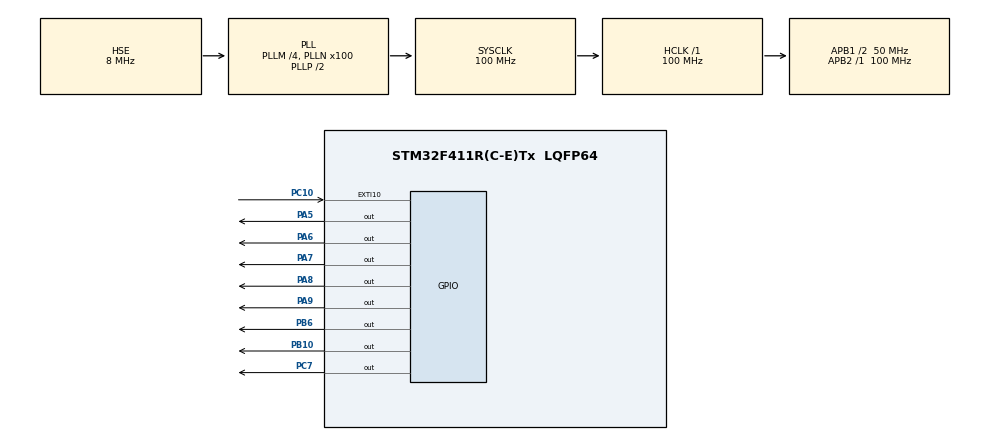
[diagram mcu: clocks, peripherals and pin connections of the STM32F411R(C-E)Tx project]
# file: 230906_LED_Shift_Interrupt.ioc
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Mcu.Family=STM32F4
Mcu.Name=STM32F411R(C-E)Tx
Mcu.Package=LQFP64
NVIC.EXTI15_10_IRQn=true\:0\:0\:false\:false\:true\:true\:true\:true
NVIC.PriorityGroup=NVIC_PRIORITYGROUP_4
PA13.Mode=Serial_Wire
PA13.Signal=SYS_JTMS-SWDIO
PA14.Mode=Serial_Wire
PA14.Signal=SYS_JTCK-SWCLK
PA5.GPIO_PuPd=GPIO_NOPULL
PA5.PinState=GPIO_PIN_SET
PA5.Signal=GPIO_Output
PA6.GPIO_PuPd=GPIO_NOPULL
PA6.PinState=GPIO_PIN_SET
PA6.Signal=GPIO_Output
PA7.GPIO_PuPd=GPIO_NOPULL
PA7.PinState=GPIO_PIN_SET
PA7.Signal=GPIO_Output
PA8.GPIO_PuPd=GPIO_NOPULL
PA8.PinState=GPIO_PIN_SET
PA8.Signal=GPIO_Output
PA9.GPIO_PuPd=GPIO_NOPULL
PA9.PinState=GPIO_PIN_SET
PA9.Signal=GPIO_Output
PB10.GPIO_PuPd=GPIO_NOPULL
PB10.PinState=GPIO_PIN_SET
PB10.Signal=GPIO_Output
PB6.GPIO_PuPd=GPIO_NOPULL
PB6.PinState=GPIO_PIN_SET
PB6.Signal=GPIO_Output
PC10.GPIO_ModeDefaultEXTI=GPIO_MODE_IT_FALLING
PC10.GPIO_PuPd=GPIO_NOPULL
PC10.Signal=GPXTI10
PC7.GPIO_PuPd=GPIO_NOPULL
PC7.PinState=GPIO_PIN_SET
PC7.Signal=GPIO_Output
PH0\ -\ OSC_IN.Mode=HSE-External-Oscillator
PH0\ -\ OSC_IN.Signal=RCC_OSC_IN
PH1\ -\ OSC_OUT.Mode=HSE-External-Oscillator
PH1\ -\ OSC_OUT.Signal=RCC_OSC_OUT
ProjectManager.HeapSize=0x200
ProjectManager.StackSize=0x400
ProjectManager.TargetToolchain=STM32CubeIDE
RCC.48MHZClocksFreq_Value=50000000
RCC.AHBFreq_Value=100000000
RCC.APB1CLKDivider=RCC_HCLK_DIV2
RCC.APB1Freq_Value=50000000
RCC.APB1TimFreq_Value=100000000
RCC.APB2Freq_Value=100000000
RCC.APB2TimFreq_Value=100000000
RCC.CortexFreq_Value=100000000
RCC.HCLKFreq_Value=100000000
RCC.HSE_VALUE=8000000
RCC.HSI_VALUE=16000000
RCC.LSE_VALUE=32768
RCC.PLLM=4
RCC.PLLN=100
RCC.PLLSourceVirtual=RCC_PLLSOURCE_HSE
RCC.SYSCLKFreq_VALUE=100000000
RCC.SYSCLKSource=RCC_SYSCLKSOURCE_PLLCLK
RCC.VCOOutputFreq_Value=200000000
board=custom

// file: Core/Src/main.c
/* USER CODE BEGIN Header */
/**
  ******************************************************************************
  * @file           : main.c
  * @brief          : Main program body
  ******************************************************************************
  * @attention
  *
  * Copyright (c) 2023 STMicroelectronics.
  * All rights reserved.
  *
  * This software is licensed under terms that can be found in the LICENSE file
  * in the root directory of this software component.
  * If no LICENSE file comes with this software, it is provided AS-IS.
  *
  ******************************************************************************
  */
/* USER CODE END Header */
#include "main.h"
#include "gpio.h"

/* USER CODE BEGIN PV */
static volatile uint8_t state = 0;
// GPIO_PinState state=0;
/* USER CODE END PV */

void SystemClock_Config(void);

/* USER CODE BEGIN 0 */
void HAL_GPIO_EXTI_Callback(uint16_t GPIO_Pin){
  if(GPIO_Pin == GPIO_PIN_10){
    state = (state+1)%3;
  }
}
/* USER CODE END 0 */

int main(void)
{
  /* USER CODE BEGIN 1 */
  int i=0;
  /* USER CODE END 1 */

  /* MCU Configuration--------------------------------------------------------*/

  /* Reset of all peripherals, Initializes the Flash interface and the Systick. */
  HAL_Init();

  /* Configure the system clock */
  SystemClock_Config();

  /* Initialize all configured peripherals */
  MX_GPIO_Init();
  /* USER CODE BEGIN 2 */
  GPIO_TypeDef *led2_GPIO[8] =  // pin order: PA_5,6,7, PB_6, PC_7, PA_9,8, PB_10
      {
          GPIOA, GPIOA, GPIOA, GPIOB,
          GPIOC, GPIOA, GPIOA, GPIOB
      };
  GPIO_TypeDef *led2_GPIO_PIN[8] =  // pin order: PA_5,6,7, PB_6, PC_7, PA_9,8, PB_10
      {
          GPIO_PIN_5, GPIO_PIN_6, GPIO_PIN_7, GPIO_PIN_6,
          GPIO_PIN_7, GPIO_PIN_9, GPIO_PIN_8, GPIO_PIN_10
      };
  /* USER CODE END 2 */

  /* Infinite loop */
  while (1)
  {

    /* USER CODE BEGIN 3 */
    switch(state)
          {
            case 0:
              for(i = 0; i<8; i++)
              {
                HAL_GPIO_WritePin(led2_GPIO[i], led2_GPIO_PIN[i], 1);
                HAL_Delay(150);
              }
              for(i = 7; i>=0; i--)
              {
                HAL_Delay(150);
                HAL_GPIO_WritePin(led2_GPIO[i], led2_GPIO_PIN[i], 0);
              }
              break;

            case 1:
              for(i = 0; i<8; i++)
              {
                HAL_GPIO_WritePin(led2_GPIO[i], led2_GPIO_PIN[i], 0);
                HAL_Delay(150);
              }
              for(i = 7; i>=0; i--)
              {
                HAL_GPIO_WritePin(led2_GPIO[i], led2_GPIO_PIN[i], 1);
                HAL_Delay(150);
              }
              break;

            case 2:
              for(i = 0; i<8; i++)
              {
                HAL_GPIO_WritePin(led2_GPIO[i], led2_GPIO_PIN[i], 1);
                HAL_Delay(150);
                HAL_GPIO_WritePin(led2_GPIO[i], led2_GPIO_PIN[i], 0);
              }
              for(; i>=0; i--)
              {
                HAL_GPIO_WritePin(led2_GPIO[i], led2_GPIO_PIN[i], 1);
                HAL_Delay(150);
                HAL_GPIO_WritePin(led2_GPIO[i], led2_GPIO_PIN[i], 0);
              }
              break;
          }
  }
  /* USER CODE END 3 */
}

void SystemClock_Config(void)
{
  RCC_OscInitTypeDef RCC_OscInitStruct = {0};
  RCC_ClkInitTypeDef RCC_ClkInitStruct = {0};

  /** Configure the main internal regulator output voltage
  */
  __HAL_RCC_PWR_CLK_ENABLE();
  __HAL_PWR_VOLTAGESCALING_CONFIG(PWR_REGULATOR_VOLTAGE_SCALE1);

  /** Initializes the RCC Oscillators according to the specified parameters
  * in the RCC_OscInitTypeDef structure.
  */
  RCC_OscInitStruct.OscillatorType = RCC_OSCILLATORTYPE_HSE;
  RCC_OscInitStruct.HSEState = RCC_HSE_ON;
  RCC_OscInitStruct.PLL.PLLState = RCC_PLL_ON;
  RCC_OscInitStruct.PLL.PLLSource = RCC_PLLSOURCE_HSE;
  RCC_OscInitStruct.PLL.PLLM = 4;
  RCC_OscInitStruct.PLL.PLLN = 100;
  RCC_OscInitStruct.PLL.PLLP = RCC_PLLP_DIV2;
  RCC_OscInitStruct.PLL.PLLQ = 4;
  if (HAL_RCC_OscConfig(&RCC_OscInitStruct) != HAL_OK)
  {
    Error_Handler();
  }

  /** Initializes the CPU, AHB and APB buses clocks
  */
  RCC_ClkInitStruct.ClockType = RCC_CLOCKTYPE_HCLK|RCC_CLOCKTYPE_SYSCLK
                              |RCC_CLOCKTYPE_PCLK1|RCC_CLOCKTYPE_PCLK2;
  RCC_ClkInitStruct.SYSCLKSource = RCC_SYSCLKSOURCE_PLLCLK;
  RCC_ClkInitStruct.AHBCLKDivider = RCC_SYSCLK_DIV1;
  RCC_ClkInitStruct.APB1CLKDivider = RCC_HCLK_DIV2;
  RCC_ClkInitStruct.APB2CLKDivider = RCC_HCLK_DIV1;

  if (HAL_RCC_ClockConfig(&RCC_ClkInitStruct, FLASH_LATENCY_3) != HAL_OK)
  {
    Error_Handler();
  }
}

void Error_Handler(void)
{
  __disable_irq();
  while (1)
  {
  }
}
